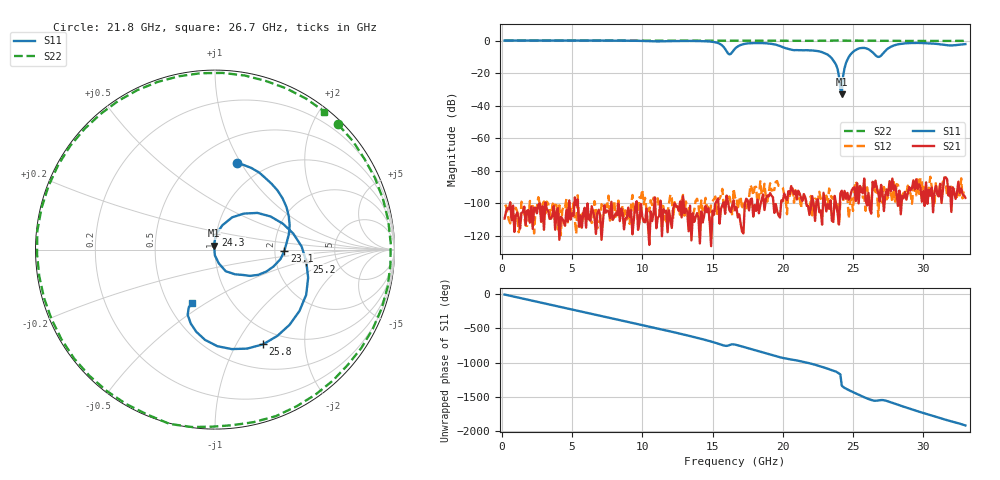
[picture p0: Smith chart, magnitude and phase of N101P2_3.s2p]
# GHZ S RI R 50
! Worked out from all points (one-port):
!   329 points, 200 MHz to 33 GHz, reference 50 ohm
!   lowest |S11| = -32.9 dB at 24.2 GHz (marker M1), VSWR 1.05, Z = 49.4 + j2.15 ohm
!   |S11| at or under -10 dB: 23.38 GHz to 24.71 GHz (1.327 GHz wide, 5.52 % of centre); 26.77165 GHz to 26.85565 GHz (84 MHz wide, 0.313 % of centre)
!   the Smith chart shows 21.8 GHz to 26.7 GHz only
!   S11 on the Smith chart (normalised r, x): 21.8 GHz: 0.74, +0.96; 23.1 GHz: 2.26, -0.03; 24.3 GHz: 0.99, +0.17; 25.2 GHz: 3.00, -0.55; 25.8 GHz: 0.80, -1.30; 26.7 GHz: 0.66, -0.44
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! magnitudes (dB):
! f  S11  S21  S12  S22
! 200 MHz  0.0  -109.3  -101.8  0.0
! 5.7 GHz  0.0  -114.9  -104.8  0.0
! 11.2 GHz  -0.5  -107.9  -103.6  -0.1
! 15.1 GHz  -0.9  -107.0  -97.5  -0.1
! 16.2 GHz  -8.5  -104.1  -95.8  -0.1
! 16.6 GHz  -5.0  -104.3  -96.4  -0.1
! 18.4 GHz  -1.6  -101.2  -86.4  -0.2
! 21.8 GHz  -6.0  -101.5  -99.0  -0.2
! 22.1 GHz  -6.1  -95.6  -107.3  -0.2
! 23.1 GHz  -8.2  -104.9  -95.2  -0.2
! 23.8 GHz  -15.0  -100.7  -102.0  0.0
! 23.9 GHz  -17.4  -105.8  -99.2  0.0
! 24.1 GHz  -29.8  -94.0  -98.8  -0.1
! 24.2 GHz  -32.9  -92.2  -98.0  -0.1
! 24.3 GHz  -21.5  -97.5  -98.7  -0.1
! 24.6 GHz  -11.8  -93.6  -96.5  -0.1
! 25.2 GHz  -5.8  -98.6  -86.4  -0.1
! 25.8 GHz  -4.6  -84.7  -96.0  -0.1
! 26.7 GHz  -9.8  -90.9  -89.7  -0.2
! 27.6 GHz  -4.3  -86.3  -93.9  -0.2
! 29 GHz  -1.6  -90.0  -91.6  -0.2
! 33 GHz  -2.2  -96.6  -91.5  -0.2
